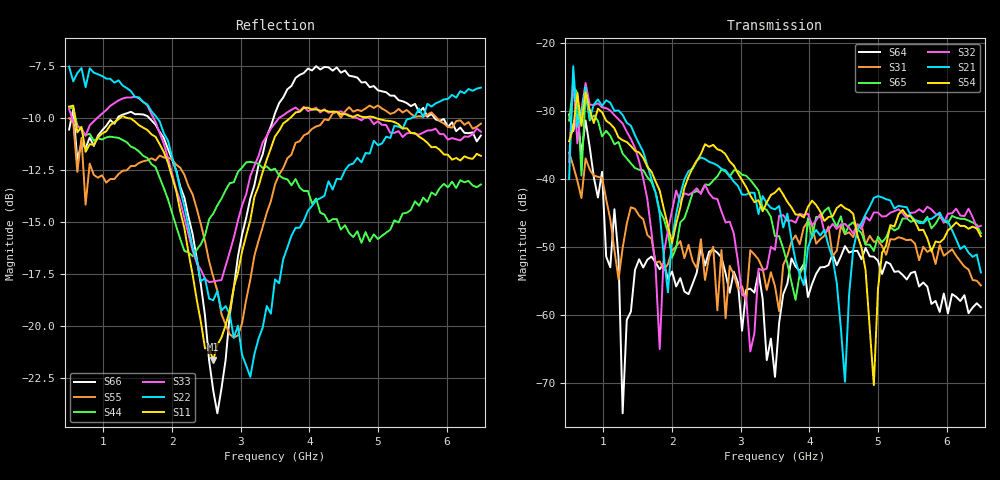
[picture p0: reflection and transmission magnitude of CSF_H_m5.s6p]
!Keysight Technologies,M9804A,MY58100912,A.14.10.03
!Date: Thursday, April 27, 2023 10:28:33
!Correction: S11(C  6-Port  )
!S12(C  6-Port  )
!S13(C  6-Port  )
!S14(C  6-Port  )
!S15(C  6-Port  )
!S16(C  6-Port  )
!S21(C  6-Port  )
!S22(C  6-Port  )
!S23(C  6-Port  )
!S24(C  6-Port  )
!S25(C  6-Port  )
!S26(C  6-Port  )
!S31(C  6-Port  )
!S32(C  6-Port  )
!S33(C  6-Port  )
!S34(C  6-Port  )
!S35(C  6-Port  )
!S36(C  6-Port  )
!S41(C  6-Port  )
!S42(C  6-Port  )
!S43(C  6-Port  )
!S44(C  6-Port  )
!S45(C  6-Port  )
!S46(C  6-Port  )
!S51(C  6-Port  )
!S52(C  6-Port  )
!S53(C  6-Port  )
!S54(C  6-Port  )
!S55(C  6-Port  )
!S56(C  6-Port  )
!S61(C  6-Port  )
!S62(C  6-Port  )
!S63(C  6-Port  )
!S64(C  6-Port  )
!S65(C  6-Port  )
!S66(C  6-Port  )
!S6P File: Measurement: :
# Hz S  RI  R 50
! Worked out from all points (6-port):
!   101 points, 500 MHz to 6.5 GHz, reference 50 ohm
!   strongest paths, dB at 500 MHz, 2 GHz, 3.5 GHz, 5 GHz, 6.5 GHz:
!     S54: -34.4, -49.3, -42.0, -56.2, -48.4
!     S21: -40.0, -48.7, -44.4, -42.5, -53.7
!     S32: -37.5, -44.6, -50.4, -44.9, -46.9
!     S65: -31.4, -51.5, -48.4, -48.5, -47.9
!     S31: -36.1, -50.5, -55.7, -49.0, -55.6
!     S64: -30.5, -53.6, -69.1, -52.0, -58.8
!   lowest |S11| = -21.6 dB at 2.6 GHz (marker M1), VSWR 1.18, Z = 42.6 + j2.03 ohm
!   |S11| at or under -10 dB: 588.3 MHz to 1.239 GHz (650.9 MHz wide, 71.2 % of centre); 1.364 GHz to 3.717 GHz (2.354 GHz wide, 92.6 % of centre); 4.974 GHz to end of sweep
